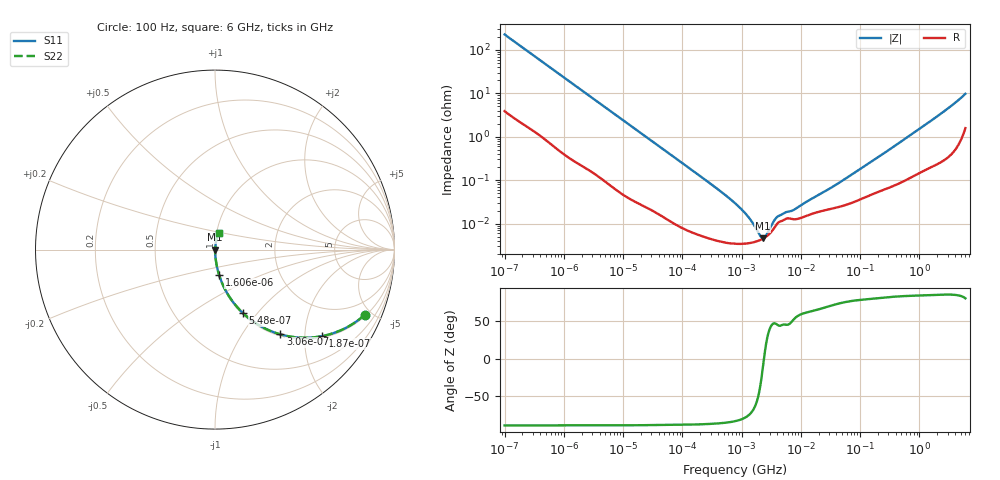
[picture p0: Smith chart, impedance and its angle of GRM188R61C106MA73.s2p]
!Murata Part Number: GRM188R61C106MA73
!These Parameters are Measured in Series Mode Connection
!Data Generated on Mar 30, 2021
!  o--ll--o
!Port1  Port2
!  o------o
!Operation Temp=25[degC], DC Bias Voltage=0[V]
!Freq. Start=100[Hz] Stop=6[GHz] 401[Steps]
# Hz S RI R 50
!Freq.(Hz) S11(Real) S11(Imag) S21(Real) S21(Imag) S12(Real) S12(Imag) S22(Real) S22(Imag)
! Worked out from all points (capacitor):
!   401 points, 100 Hz to 6 GHz, reference 50 ohm
!   read as one part in series: C = 6.96 uF near 109 Hz
!   lowest |Z| = 4.58 mohm at 2.269 MHz (marker M1)
!   series resonance near 2.387 MHz, so ESL is about 640 pH
!   S11 on the Smith chart (normalised r, x): 100 Hz: 1.08, -4.56; 187 Hz: 1.04, -2.45; 306 Hz: 1.03, -1.51; 548 Hz: 1.02, -0.85; 1.606 kHz: 1.01, -0.29; 6 GHz: 1.03, +0.19
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100  0.8344 -0.3633  0.1656 0.3633  0.1656 0.3633  0.8344 -0.3633
131  0.7496 -0.4249  0.2504 0.4249  0.2504 0.4249  0.7496 -0.4249
187  0.5985 -0.4816  0.4015 0.4816  0.4015 0.4816  0.5985 -0.4816
306  0.3642 -0.4722  0.6358 0.4722  0.6358 0.4722  0.3642 -0.4722
548  0.1567 -0.3548  0.8433 0.3548  0.8433 0.3548  0.1567 -0.3548
897  0.0671 -0.2418  0.9329 0.2418  0.9329 0.2418  0.0671 -0.2418
1606  0.0233 -0.1424  0.9767 0.1424  0.9767 0.1424  0.0233 -0.1424
2008  0.0156 -0.1151  0.9844 0.1151  0.9844 0.1151  0.0156 -0.1151
6433  0.00208 -0.037  0.9979 0.037  0.9979 0.037  0.00208 -0.037
40335  0.000199 -0.00605  0.9998 0.00605  0.9998 0.00605  0.000199 -0.00605
330837  4.3e-05 -0.000746  1 0.000746  1 0.000746  4.3e-05 -0.000746
774597  3.43e-05 -0.000293  1 0.000293  1 0.000293  3.43e-05 -0.000293
1585629  3.7e-05 -9e-05  1 9e-05  1 9e-05  3.7e-05 -9e-05
2268635  4.45e-05 -1.09e-05  1 1.09e-05  1 1.09e-05  4.45e-05 -1.09e-05
3245845  6.67e-05 6.75e-05  0.9999 -6.75e-05  0.9999 -6.75e-05  6.67e-05 6.75e-05
4246196  0.000108 0.000105  0.9999 -0.000105  0.9999 -0.000105  0.000108 0.000105
7599586  0.000125 0.000164  0.9999 -0.000164  0.9999 -0.000164  0.000125 0.000164
1.555665e7  0.000168 0.000339  0.9998 -0.000339  0.9998 -0.000339  0.000168 0.000339
4.165952e7  0.000237 0.000791  0.9998 -0.000791  0.9998 -0.000791  0.000237 0.000791
3.124326e8  0.000699 0.00501  0.9993 -0.00501  0.9993 -0.00501  0.000699 0.00501
2.048624e9  0.00326 0.0299  0.9967 -0.0299  0.9967 -0.0299  0.00326 0.0299
6e9  0.0244 0.0928  0.9756 -0.0928  0.9756 -0.0928  0.0244 0.0928
